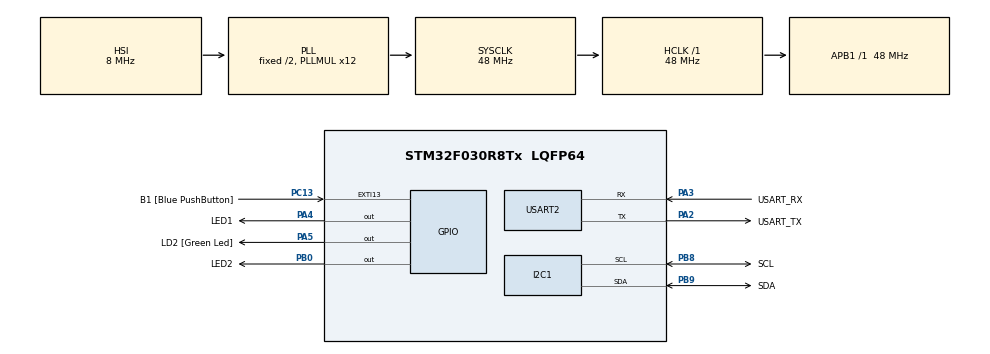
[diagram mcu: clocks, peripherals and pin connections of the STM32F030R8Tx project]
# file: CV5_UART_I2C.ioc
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Dma.Request0=USART2_RX
Dma.USART2_RX.0.Direction=DMA_PERIPH_TO_MEMORY
Dma.USART2_RX.0.Instance=DMA1_Channel5
Dma.USART2_RX.0.MemDataAlignment=DMA_MDATAALIGN_BYTE
Dma.USART2_RX.0.MemInc=DMA_MINC_ENABLE
Dma.USART2_RX.0.Mode=DMA_CIRCULAR
Dma.USART2_RX.0.PeriphDataAlignment=DMA_PDATAALIGN_BYTE
Dma.USART2_RX.0.PeriphInc=DMA_PINC_DISABLE
Dma.USART2_RX.0.Priority=DMA_PRIORITY_LOW
Mcu.Family=STM32F0
Mcu.Name=STM32F030R8Tx
Mcu.Package=LQFP64
NVIC.DMA1_Channel4_5_IRQn=true\:0\:0\:false\:false\:true\:false\:true\:true
PA13.GPIO_Label=TMS
PA13.Mode=Serial_Wire
PA13.Signal=SYS_SWDIO
PA14.GPIO_Label=TCK
PA14.Mode=Serial_Wire
PA14.Signal=SYS_SWCLK
PA2.GPIO_Label=USART_TX
PA2.GPIO_Mode=GPIO_MODE_AF_PP
PA2.GPIO_PuPd=GPIO_NOPULL
PA2.GPIO_Speed=GPIO_SPEED_FREQ_LOW
PA2.Mode=Asynchronous
PA2.Signal=USART2_TX
PA3.GPIO_Label=USART_RX
PA3.GPIO_Mode=GPIO_MODE_AF_PP
PA3.GPIO_PuPd=GPIO_NOPULL
PA3.GPIO_Speed=GPIO_SPEED_FREQ_LOW
PA3.Mode=Asynchronous
PA3.Signal=USART2_RX
PA4.GPIO_Label=LED1
PA4.Signal=GPIO_Output
PA5.GPIO_Label=LD2 [Green Led]
PA5.GPIO_Mode=GPIO_MODE_OUTPUT_PP
PA5.GPIO_PuPd=GPIO_NOPULL
PA5.GPIO_Speed=GPIO_SPEED_FREQ_LOW
PA5.Signal=GPIO_Output
PB0.GPIO_Label=LED2
PB0.Signal=GPIO_Output
PB8.GPIO_Label=SCL
PB8.Mode=I2C
PB8.Signal=I2C1_SCL
PB9.GPIO_Label=SDA
PB9.Mode=I2C
PB9.Signal=I2C1_SDA
PC13.GPIO_Label=B1 [Blue PushButton]
PC13.GPIO_ModeDefaultEXTI=GPIO_MODE_IT_FALLING
PC13.Signal=GPXTI13
PC14-OSC32_IN.Mode=LSE-External-Oscillator
PC14-OSC32_IN.Signal=RCC_OSC32_IN
PC15-OSC32_OUT.Mode=LSE-External-Oscillator
PC15-OSC32_OUT.Signal=RCC_OSC32_OUT
PF0-OSC_IN.Mode=HSE-External-Clock-Source
PF0-OSC_IN.Signal=RCC_OSC_IN
PF1-OSC_OUT.Signal=RCC_OSC_OUT
ProjectManager.HeapSize=0x200
ProjectManager.StackSize=0x400
ProjectManager.TargetToolchain=STM32CubeIDE
RCC.AHBFreq_Value=48000000
RCC.APB1Freq_Value=48000000
RCC.APB1TimFreq_Value=48000000
RCC.HCLKFreq_Value=48000000
RCC.PLLMUL=RCC_PLL_MUL12
RCC.SYSCLKFreq_VALUE=48000000
RCC.SYSCLKSource=RCC_SYSCLKSOURCE_PLLCLK
USART2.VirtualMode-Asynchronous=VM_ASYNC
board=NUCLEO-F030R8

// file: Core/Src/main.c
/* USER CODE BEGIN Header */
/**
  ******************************************************************************
  * @file           : main.c
  * @brief          : Main program body
  ******************************************************************************
  * @attention
  *
  * Copyright (c) 2023 STMicroelectronics.
  * All rights reserved.
  *
  * This software is licensed under terms that can be found in the LICENSE file
  * in the root directory of this software component.
  * If no LICENSE file comes with this software, it is provided AS-IS.
  *
  ******************************************************************************
  */
/* USER CODE END Header */
#include "main.h"

/* USER CODE BEGIN Includes */
#include <stdio.h>
#include <string.h>
#include <stdlib.h>
/* USER CODE END Includes */

I2C_HandleTypeDef hi2c1;

UART_HandleTypeDef huart2;
DMA_HandleTypeDef hdma_usart2_rx;

void SystemClock_Config(void);
static void MX_GPIO_Init(void);
static void MX_DMA_Init(void);
static void MX_USART2_UART_Init(void);
static void MX_I2C1_Init(void);

/* USER CODE BEGIN 0 */
#define RX_BUFFER_LEN 64
#define CMD_BUFFER_LEN 256
static uint8_t uart_rx_buf[RX_BUFFER_LEN];
static volatile uint16_t uart_rx_read_ptr = 0;
#define uart_rx_write_ptr (RX_BUFFER_LEN - hdma_usart2_rx.Instance->CNDTR)
#define EEPROM_ADDR 0b10100000

static void uart_process_command(char *cmd)
{
	//printf("prijato: '%s'\n", cmd);
	/*
	if (strcmp(cmd, "HELLO") == 0){
		printf("Vitame na PC MKS, kde se dozvite vsehno o mikrokontrolerech \n");
	}
	if (strcmp(cmd, "LED1") == 0){
		HAL_GPIO_TogglePin(LED1_GPIO_Port,LED1_Pin);
	}
	if (strcmp(cmd, "LED2") == 0){
		HAL_GPIO_TogglePin(LED2_GPIO_Port,LED2_Pin);
	}
	if (strcmp(cmd, "STATUS") == 0){
		if (HAL_GPIO_ReadPin(LED1_GPIO_Port,LED1_Pin)){
			printf("LED1: ON \n");
		}
		if (!HAL_GPIO_ReadPin(LED1_GPIO_Port,LED1_Pin)){
			printf("LED1: OFF \n");
		}
		if (HAL_GPIO_ReadPin(LED2_GPIO_Port,LED2_Pin)){
			printf("LED2: ON \n");
		}
		if (!HAL_GPIO_ReadPin(LED2_GPIO_Port,LED2_Pin)){
			printf("LED2: OFF \n");
		}

	}*/

	char *token;
	token = strtok(cmd, " ");

	if (strcasecmp(token, "HELLO") == 0) {
	 printf("Komunikace OK\n");
	}
	else if (strcasecmp(token, "LED1") == 0) {
		token = strtok(NULL, " ");
		if (strcasecmp(token, "ON") == 0) {HAL_GPIO_WritePin(LED1_GPIO_Port,LED1_Pin, 1);}
				else if (strcasecmp(token, "OFF") == 0) {HAL_GPIO_WritePin(LED1_GPIO_Port,LED1_Pin, 0);}
						printf("OK\n");
	}
	else if (strcasecmp(token, "LED2") == 0) {
			token = strtok(NULL, " ");
			if (strcasecmp(token, "ON") == 0) {HAL_GPIO_WritePin(LED2_GPIO_Port,LED2_Pin, 1);}
					else if (strcasecmp(token, "OFF") == 0) {HAL_GPIO_WritePin(LED2_GPIO_Port,LED2_Pin, 0);}
							printf("OK\n");
	}
	else if (strcasecmp(token, "STATUS") == 0) {
		if (HAL_GPIO_ReadPin(LED1_GPIO_Port,LED1_Pin)){
			printf("LED1: ON \n");
		}
		if (!HAL_GPIO_ReadPin(LED1_GPIO_Port,LED1_Pin)){
			printf("LED1: OFF \n");
		}
		if (HAL_GPIO_ReadPin(LED2_GPIO_Port,LED2_Pin)){
			printf("LED2: ON \n");
		}
		if (!HAL_GPIO_ReadPin(LED2_GPIO_Port,LED2_Pin)){
			printf("LED2: OFF \n");
		}
	}

	/* READ */
	if (strcasecmp(token, "read") == 0) {
		uint8_t value;
		uint16_t addr;
		token = strtok(NULL, " ");
		addr = atoi(token);
		HAL_I2C_Mem_Read(&hi2c1, EEPROM_ADDR, addr, I2C_MEMADD_SIZE_16BIT, &value, 1, 1000);
		printf("Adresa: 0x000%x = 0x%X\n", addr, value);
	}
	/* WRITE */
	if (strcasecmp(token, "write") == 0) {
		uint8_t value;
		uint16_t addr;
		token = strtok(NULL, " ");
		addr = atoi(token);
		token = strtok(NULL, " ");
		value = atoi(token);
		HAL_I2C_Mem_Write(&hi2c1, EEPROM_ADDR, addr, I2C_MEMADD_SIZE_16BIT, &value, 1, 1000);

		/* Check if the EEPROM is ready for a new operation */
		while (HAL_I2C_IsDeviceReady(&hi2c1, EEPROM_ADDR, 300, 1000) == HAL_TIMEOUT) {}
		printf("OK \n");
	}
	/* DUMP */
	if (strcasecmp(token, "dump") == 0) {
		for (uint8_t i = 0; i < 16; i++){
			uint8_t value;
			uint16_t addr = i;
			HAL_I2C_Mem_Read(&hi2c1, EEPROM_ADDR, addr, I2C_MEMADD_SIZE_16BIT, &value, 1, 1000);
			printf("%X ", value);
		}
		/* Check if the EEPROM is ready for a new operation */
		while (HAL_I2C_IsDeviceReady(&hi2c1, EEPROM_ADDR, 300, 1000) == HAL_TIMEOUT) {}
		printf("OK \n");
	}

}

static void uart_byte_available(uint8_t c)
{
	static uint16_t cnt;
	static char data[CMD_BUFFER_LEN];
	if (cnt < CMD_BUFFER_LEN && c >= 32 && c <= 126) data[cnt++] = c;
	if ((c == '\n' || c == '\r') && cnt > 0) {
		data[cnt] = '\0';
		uart_process_command(data);
		cnt = 0;
	}
}

int _write(int file, char const *buf, int n)
{
	/* stdout redirection to UART2 */
	HAL_UART_Transmit(&huart2, (uint8_t*)(buf), n, HAL_MAX_DELAY);
	return n;
}

/* USER CODE END 0 */

int main(void)
{

  /* MCU Configuration--------------------------------------------------------*/

  /* Reset of all peripherals, Initializes the Flash interface and the Systick. */
  HAL_Init();

  /* Configure the system clock */
  SystemClock_Config();

  /* Initialize all configured peripherals */
  MX_GPIO_Init();
  MX_DMA_Init();
  MX_USART2_UART_Init();
  MX_I2C1_Init();
  /* USER CODE BEGIN 2 */
  HAL_UART_Receive_DMA(&huart2, uart_rx_buf, RX_BUFFER_LEN);

  /* USER CODE END 2 */

  /* Infinite loop */
  while (1)
  {
	  while (uart_rx_read_ptr != uart_rx_write_ptr) {
		  uint8_t b = uart_rx_buf[uart_rx_read_ptr];
		  if (++uart_rx_read_ptr >= RX_BUFFER_LEN) uart_rx_read_ptr = 0; // increase read pointer
		  uart_byte_available(b); // process every received byte with the RX state machine
	  }

  }
}

void SystemClock_Config(void)
{
  RCC_OscInitTypeDef RCC_OscInitStruct = {0};
  RCC_ClkInitTypeDef RCC_ClkInitStruct = {0};
  RCC_PeriphCLKInitTypeDef PeriphClkInit = {0};

  /** Initializes the RCC Oscillators according to the specified parameters
  * in the RCC_OscInitTypeDef structure.
  */
  RCC_OscInitStruct.OscillatorType = RCC_OSCILLATORTYPE_HSI;
  RCC_OscInitStruct.HSIState = RCC_HSI_ON;
  RCC_OscInitStruct.HSICalibrationValue = RCC_HSICALIBRATION_DEFAULT;
  RCC_OscInitStruct.PLL.PLLState = RCC_PLL_ON;
  RCC_OscInitStruct.PLL.PLLSource = RCC_PLLSOURCE_HSI;
  RCC_OscInitStruct.PLL.PLLMUL = RCC_PLL_MUL12;
  RCC_OscInitStruct.PLL.PREDIV = RCC_PREDIV_DIV1;
  if (HAL_RCC_OscConfig(&RCC_OscInitStruct) != HAL_OK)
  {
    Error_Handler();
  }

  /** Initializes the CPU, AHB and APB buses clocks
  */
  RCC_ClkInitStruct.ClockType = RCC_CLOCKTYPE_HCLK|RCC_CLOCKTYPE_SYSCLK
                              |RCC_CLOCKTYPE_PCLK1;
  RCC_ClkInitStruct.SYSCLKSource = RCC_SYSCLKSOURCE_PLLCLK;
  RCC_ClkInitStruct.AHBCLKDivider = RCC_SYSCLK_DIV1;
  RCC_ClkInitStruct.APB1CLKDivider = RCC_HCLK_DIV1;

  if (HAL_RCC_ClockConfig(&RCC_ClkInitStruct, FLASH_LATENCY_1) != HAL_OK)
  {
    Error_Handler();
  }
  PeriphClkInit.PeriphClockSelection = RCC_PERIPHCLK_I2C1;
  PeriphClkInit.I2c1ClockSelection = RCC_I2C1CLKSOURCE_HSI;
  if (HAL_RCCEx_PeriphCLKConfig(&PeriphClkInit) != HAL_OK)
  {
    Error_Handler();
  }
}

static void MX_I2C1_Init(void)
{

  hi2c1.Instance = I2C1;
  hi2c1.Init.Timing = 0x2000090E;
  hi2c1.Init.OwnAddress1 = 0;
  hi2c1.Init.AddressingMode = I2C_ADDRESSINGMODE_7BIT;
  hi2c1.Init.DualAddressMode = I2C_DUALADDRESS_DISABLE;
  hi2c1.Init.OwnAddress2 = 0;
  hi2c1.Init.OwnAddress2Masks = I2C_OA2_NOMASK;
  hi2c1.Init.GeneralCallMode = I2C_GENERALCALL_DISABLE;
  hi2c1.Init.NoStretchMode = I2C_NOSTRETCH_DISABLE;
  if (HAL_I2C_Init(&hi2c1) != HAL_OK)
  {
    Error_Handler();
  }

  /** Configure Analogue filter
  */
  if (HAL_I2CEx_ConfigAnalogFilter(&hi2c1, I2C_ANALOGFILTER_ENABLE) != HAL_OK)
  {
    Error_Handler();
  }

  /** Configure Digital filter
  */
  if (HAL_I2CEx_ConfigDigitalFilter(&hi2c1, 0) != HAL_OK)
  {
    Error_Handler();
  }

}

static void MX_USART2_UART_Init(void)
{

  huart2.Instance = USART2;
  huart2.Init.BaudRate = 38400;
  huart2.Init.WordLength = UART_WORDLENGTH_8B;
  huart2.Init.StopBits = UART_STOPBITS_1;
  huart2.Init.Parity = UART_PARITY_NONE;
  huart2.Init.Mode = UART_MODE_TX_RX;
  huart2.Init.HwFlowCtl = UART_HWCONTROL_NONE;
  huart2.Init.OverSampling = UART_OVERSAMPLING_16;
  huart2.Init.OneBitSampling = UART_ONE_BIT_SAMPLE_DISABLE;
  huart2.AdvancedInit.AdvFeatureInit = UART_ADVFEATURE_NO_INIT;
  if (HAL_UART_Init(&huart2) != HAL_OK)
  {
    Error_Handler();
  }

}

static void MX_DMA_Init(void)
{

  /* DMA controller clock enable */
  __HAL_RCC_DMA1_CLK_ENABLE();

  /* DMA interrupt init */
  /* DMA1_Channel4_5_IRQn interrupt configuration */
  HAL_NVIC_SetPriority(DMA1_Channel4_5_IRQn, 0, 0);
  HAL_NVIC_EnableIRQ(DMA1_Channel4_5_IRQn);

}

static void MX_GPIO_Init(void)
{
  GPIO_InitTypeDef GPIO_InitStruct = {0};

  /* GPIO Ports Clock Enable */
  __HAL_RCC_GPIOC_CLK_ENABLE();
  __HAL_RCC_GPIOF_CLK_ENABLE();
  __HAL_RCC_GPIOA_CLK_ENABLE();
  __HAL_RCC_GPIOB_CLK_ENABLE();

  /*Configure GPIO pin Output Level */
  HAL_GPIO_WritePin(GPIOA, LED1_Pin|LD2_Pin, GPIO_PIN_RESET);

  /*Configure GPIO pin Output Level */
  HAL_GPIO_WritePin(LED2_GPIO_Port, LED2_Pin, GPIO_PIN_RESET);

  /*Configure GPIO pin : B1_Pin */
  GPIO_InitStruct.Pin = B1_Pin;
  GPIO_InitStruct.Mode = GPIO_MODE_IT_FALLING;
  GPIO_InitStruct.Pull = GPIO_NOPULL;
  HAL_GPIO_Init(B1_GPIO_Port, &GPIO_InitStruct);

  /*Configure GPIO pins : LED1_Pin LD2_Pin */
  GPIO_InitStruct.Pin = LED1_Pin|LD2_Pin;
  GPIO_InitStruct.Mode = GPIO_MODE_OUTPUT_PP;
  GPIO_InitStruct.Pull = GPIO_NOPULL;
  GPIO_InitStruct.Speed = GPIO_SPEED_FREQ_LOW;
  HAL_GPIO_Init(GPIOA, &GPIO_InitStruct);

  /*Configure GPIO pin : LED2_Pin */
  GPIO_InitStruct.Pin = LED2_Pin;
  GPIO_InitStruct.Mode = GPIO_MODE_OUTPUT_PP;
  GPIO_InitStruct.Pull = GPIO_NOPULL;
  GPIO_InitStruct.Speed = GPIO_SPEED_FREQ_LOW;
  HAL_GPIO_Init(LED2_GPIO_Port, &GPIO_InitStruct);

}

void Error_Handler(void)
{
  __disable_irq();
  while (1)
  {
  }
}
